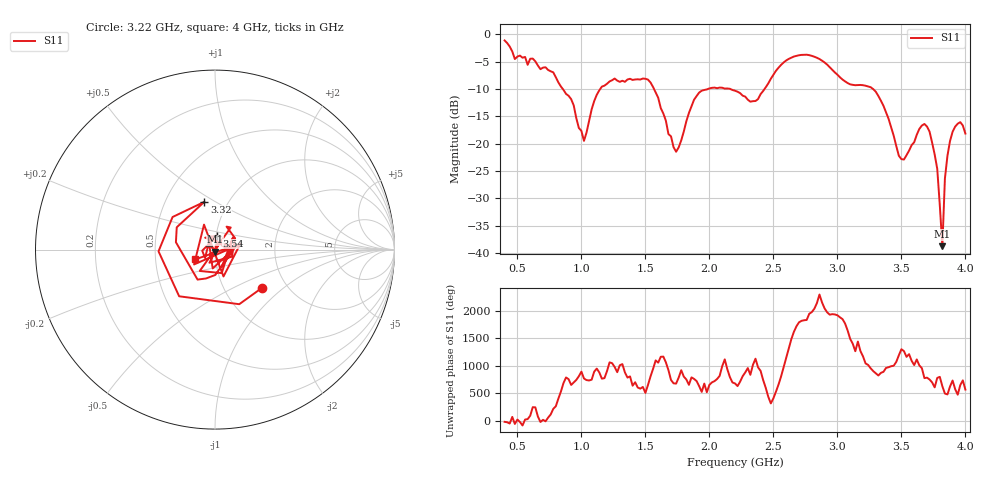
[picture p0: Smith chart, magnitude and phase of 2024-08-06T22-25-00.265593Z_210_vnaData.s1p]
!Created with skrf (http://scikit-rf.org).
# Hz S RI R 50.0
!freq ReS11 ImS11
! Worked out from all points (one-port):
!   181 points, 400 MHz to 4 GHz, reference 50 ohm
!   lowest |S11| = -38.8 dB at 3.82 GHz (marker M1), VSWR 1.02, Z = 49.9 - j1.15 ohm
!   |S11| at or under -10 dB: 854.4 MHz to 1.147 GHz (292.8 MHz wide, 29.3 % of centre); 1.567 GHz to 1.99 GHz (422.8 MHz wide, 23.8 % of centre); 3.278 GHz to end of sweep (the widest 3 of 4)
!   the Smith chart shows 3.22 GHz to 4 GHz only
!   S11 on the Smith chart (normalised r, x): 3.22 GHz: 1.51, -0.72; 3.32 GHz: 0.78, +0.45; 3.54 GHz: 1.01, +0.16; 4 GHz: 0.80, -0.09
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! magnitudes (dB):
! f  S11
! 400 MHz  -1.1
! 480 MHz  -4.5
! 860 MHz  -10.2
! 1.02 GHz  -19.5
! 1.14 GHz  -10.2
! 1.3 GHz  -8.7
! 1.52 GHz  -8.3
! 1.72 GHz  -20.7
! 1.76 GHz  -20.7
! 1.92 GHz  -10.7
! 2.2 GHz  -10.3
! 2.36 GHz  -12.2
! 2.66 GHz  -4.1
! 2.86 GHz  -4.5
! 3.1 GHz  -9.2
! 3.22 GHz  -9.4
! 3.32 GHz  -11.3
! 3.48 GHz  -22.2
! 3.54 GHz  -22.1
! 3.56 GHz  -21.3
! 3.66 GHz  -16.7
! 3.72 GHz  -17.8
! 3.78 GHz  -24.6
! 3.82 GHz  -38.8
! 3.84 GHz  -26.4
! 3.88 GHz  -19.5
! 3.96 GHz  -16.1
! 4 GHz  -18.2
